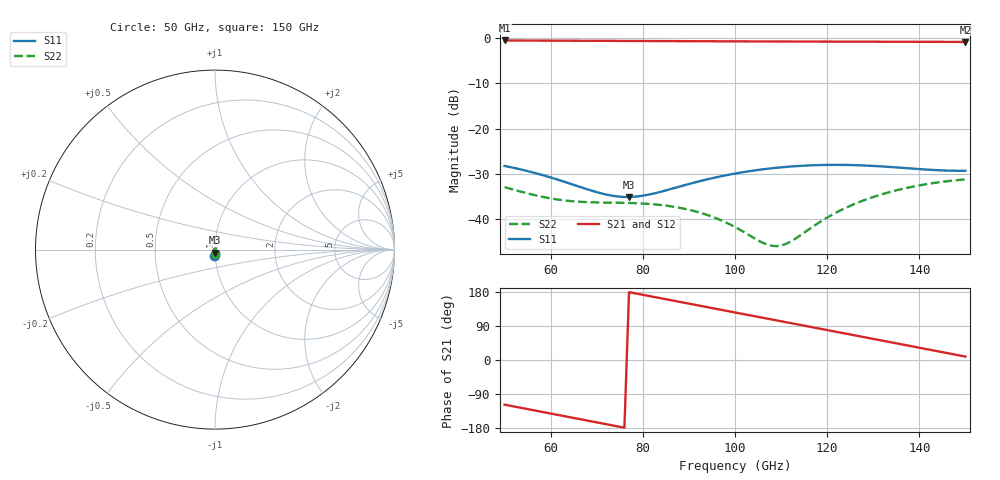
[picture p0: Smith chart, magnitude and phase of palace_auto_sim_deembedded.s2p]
! Created with skrf 1.11.0 (http://scikit-rf.org).
# GHz S DB R 50.0
!freq dBS11 angS11 dBS21 angS21 dBS12 angS12 dBS22 angS22
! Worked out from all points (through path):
!   101 points, 50 GHz to 150 GHz, reference 50 ohm
!   highest |S21| = -0.60 dB at 50 GHz (marker M1); lowest = -0.9 dB at 150 GHz (marker M2)
!   group delay of S21, straight-line fit = 6.47 ps
!   lowest |S11| = -35.1 dB at 77 GHz (marker M3), VSWR 1.04, Z = 50 - j1.76 ohm
!   |S11| at or under -10 dB: start of sweep to end of sweep
!   |S22| runs from -45.9 to -31.2 dB; largest |S21 - S12| = 1.1e-14
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50  -28.24 -96.9  -0.60 -117.9  -0.60 -117.9  -32.91 -83.9
54  -29.13 -102.5  -0.62 -127.3  -0.62 -127.3  -34.03 -86.0
59  -30.48 -107.6  -0.64 -138.9  -0.64 -138.9  -35.20 -86.4
67  -33.07 -107.9  -0.67 -157.6  -0.67 -157.6  -36.17 -85.9
73  -34.73 -98.5  -0.69 -171.6  -0.69 -171.6  -36.33 -88.8
77  -35.08 -88.5  -0.71 179.1  -0.71 179.1  -36.40 -93.3
80  -34.79 -81.1  -0.72 172.1  -0.72 172.1  -36.52 -98.0
84  -33.90 -73.7  -0.74 162.7  -0.74 162.7  -36.86 -106.0
88  -32.78 -69.9  -0.75 153.4  -0.75 153.4  -37.46 -115.8
93  -31.43 -68.9  -0.77 141.8  -0.77 141.8  -38.71 -131.0
100  -29.92 -71.6  -0.80 125.5  -0.80 125.5  -41.69 -160.7
106  -28.99 -75.7  -0.82 111.5  -0.82 111.5  -45.15 155.0
109  -28.65 -78.1  -0.83 104.6  -0.83 104.6  -45.91 121.8
112  -28.38 -80.6  -0.84 97.6  -0.84 97.6  -44.93 88.2
117  -28.09 -84.8  -0.85 86.0  -0.85 86.0  -41.54 48.1
121  -28.00 -88.0  -0.86 76.7  -0.86 76.7  -39.04 26.5
125  -28.04 -90.9  -0.87 67.3  -0.87 67.3  -37.03 9.1
129  -28.18 -93.2  -0.88 58.0  -0.88 58.0  -35.43 -6.3
134  -28.49 -95.1  -0.89 46.4  -0.89 46.4  -33.88 -24.3
142  -29.06 -94.6  -0.91 27.7  -0.91 27.7  -32.18 -52.0
146  -29.26 -92.7  -0.92 18.3  -0.92 18.3  -31.61 -65.9
150  -29.30 -90.2  -0.93 9.0  -0.93 9.0  -31.20 -80.0
